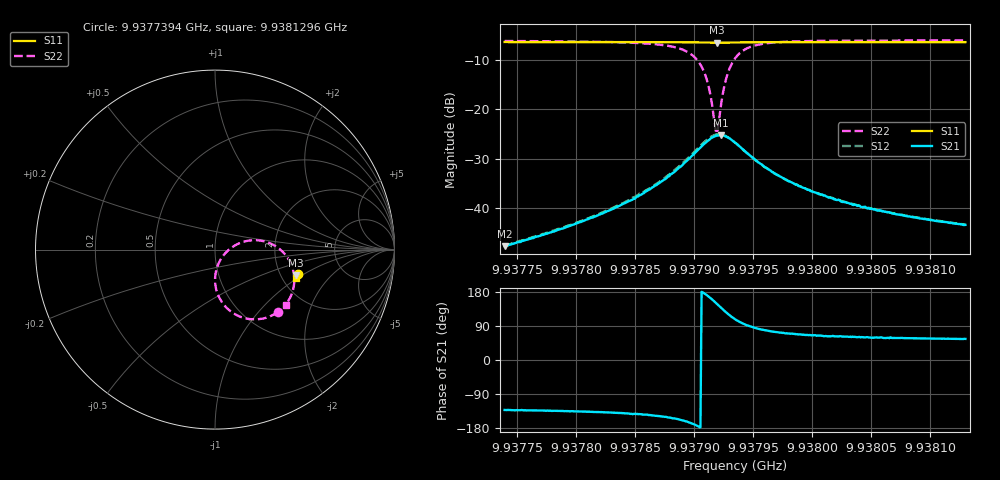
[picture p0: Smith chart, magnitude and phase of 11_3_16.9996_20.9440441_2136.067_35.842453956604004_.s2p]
#  HZ  S  RI  R  50.00
! Rohde & Schwarz Vector Network Analyzer
! Rohde-Schwarz,ZNB20-2Port,1311601062101988,3.16
! Created: UTC 3/20/2024, 10:52:36 PM
! freq[Hz]  re:S11  im:S11  re:S21  im:S21  re:S12  im:S12  re:S22  im:S22
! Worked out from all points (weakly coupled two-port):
!   401 points, 9.9377394 GHz to 9.9381296 GHz, reference 50 ohm
!   highest |S21| = -25.23 dB at 9.9379228 GHz (marker M1); lowest = -47.7 dB at 9.9377394 GHz (marker M2)
!   lowest |S11| = -6.5 dB at 9.9379189 GHz (marker M3), VSWR 2.80, Z = 121 - j44.7 ohm
!   |S11| at or under -10 dB: nowhere
!   |S22| runs from -24.9 to -6.0 dB; largest |S21 - S12| = 0.0039
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9.93773935e9  0.4623 -0.1345  -0.00274 -0.00306  -0.00283 -0.00308  0.349 -0.3482
9.93780472e9  0.4606 -0.139  -0.00525 -0.00506  -0.00544 -0.00508  0.3228 -0.364
9.93784765e9  0.459 -0.1422  -0.00969 -0.00733  -0.0101 -0.00776  0.2821 -0.3804
9.93787009e9  0.4578 -0.144  -0.0151 -0.00948  -0.0157 -0.00942  0.2343 -0.3885
9.93789155e9  0.4558 -0.1457  -0.027 -0.00952  -0.0283 -0.00904  0.1363 -0.3722
9.93790424e9  0.4538 -0.1459  -0.0397 -0.00258  -0.0418 -0.00111  0.0391 -0.2936
9.93790814e9  0.453 -0.1458  -0.0443 0.00282  -0.046 0.00494  0.0128 -0.2416
9.93791107e9  0.4526 -0.1454  -0.0469 0.00829  -0.0485 0.0111  0.00122 -0.191
9.93791399e9  0.4521 -0.1447  -0.0485 0.0151  -0.0492 0.0183  0.00301 -0.1332
9.93791692e9  0.4521 -0.144  -0.0481 0.0226  -0.0481 0.0261  0.0218 -0.0734
9.93791887e9  0.4519 -0.1435  -0.0465 0.0277  -0.0459 0.0315  0.0447 -0.0352
9.93792082e9  0.4521 -0.1431  -0.0439 0.0324  -0.0428 0.0361  0.0752 -0.00233
9.93792278e9  0.4524 -0.1426  -0.0405 0.0369  -0.0388 0.0401  0.1113 0.0234
9.93792473e9  0.4527 -0.1422  -0.0361 0.0403  -0.0341 0.0431  0.151 0.0411
9.93792765e9  0.4535 -0.1417  -0.0293 0.0437  -0.0267 0.0456  0.2117 0.0523
9.93793448e9  0.4551 -0.1422  -0.0141 0.0438  -0.0116 0.0446  0.3275 0.0254
9.93794229e9  0.4563 -0.1428  -0.00319 0.0383  -0.00156 0.038  0.3991 -0.0379
9.937954e9  0.457 -0.1443  0.00384 0.0289  0.00481 0.0287  0.4362 -0.1186
9.93797644e9  0.4569 -0.147  0.00652 0.0187  0.00676 0.0185  0.4393 -0.2028
9.93799985e9  0.4566 -0.1493  0.00616 0.0133  0.00654 0.0133  0.4287 -0.2439
9.93806522e9  0.4549 -0.154  0.00488 0.00762  0.00485 0.00759  0.4062 -0.2895
9.93812961e9  0.4531 -0.1585  0.00381 0.00558  0.00394 0.00553  0.3933 -0.3074
